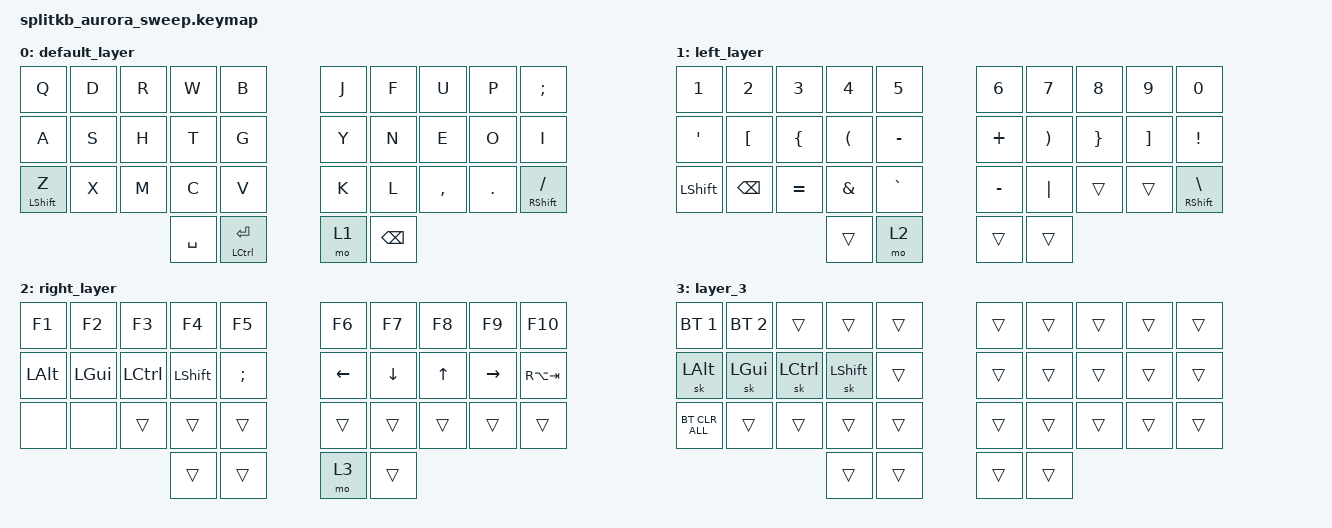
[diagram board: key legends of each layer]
/*
 * Copyright (c) 2022 The ZMK Contributors
 *
 * SPDX-License-Identifier: MIT
 */

#include <behaviors.dtsi>
#include <dt-bindings/zmk/bt.h>
#include <dt-bindings/zmk/keys.h>

&mt {
    //  flavor = "tap-preferred";
    // tapping-term-ms = <200>;
};

/ {
    combos {
        compatible = "zmk,combos";

        combo_esc {
            timeout-ms = <50>;
            key-positions = <11 12 13>;
            bindings = <&kp ESC>;
            layers = <0 1 2>;
        };

        combo_tab {
            timeout-ms = <50>;
            key-positions = <21 22>;
            bindings = <&kp TAB>;
        };

        layer3 {
            bindings = <&mo 3>;
            key-positions = <16 17 18>;
        };

        delete {
            bindings = <&kp DEL>;
            key-positions = <8 9>;
        };

        num_0 {
            bindings = <&kp N0>;
            key-positions = <7 8>;
            layers = <1>;
        };

        semicolon {
            bindings = <&kp SEMICOLON>;
            key-positions = <27 28>;
            layers = <0>;
        };
    };

    keymap {
        compatible = "zmk,keymap";

        default_layer {
            bindings = <
&kp Q        &kp D            &kp R  &kp W  &kp B    &kp J  &kp F  &kp U      &kp P       &kp SEMICOLON
&kp A        &kp S            &kp H  &kp T  &kp G    &kp Y  &kp N  &kp E      &kp O       &kp I
&mt LSHFT Z  &kp X            &kp M  &kp C  &kp V    &kp K  &kp L  &kp COMMA  &kp PERIOD  &mt RSHFT SLASH
&kp SPACE    &mt LCTRL ENTER                                                  &mo 1       &kp BACKSPACE
            >;
        };

        left_layer {
            bindings = <
&kp N1          &kp N2            &kp N3          &kp N4                &kp N5       &kp N6     &kp N7                 &kp N8           &kp N9             &kp N0
&kp SQT         &kp LEFT_BRACKET  &kp LEFT_BRACE  &kp LEFT_PARENTHESIS  &kp MINUS    &kp PLUS   &kp RIGHT_PARENTHESIS  &kp RIGHT_BRACE  &kp RIGHT_BRACKET  &kp EXCLAMATION
&kp LEFT_SHIFT  &kp BACKSPACE     &kp EQUAL       &kp AMPERSAND         &kp GRAVE    &kp MINUS  &kp PIPE               &trans           &trans             &mt RIGHT_SHIFT BACKSLASH
&trans          &mo 2                                                                                                                   &trans             &trans
            >;
        };

        right_layer {
            bindings = <
&kp F1    &kp F2    &kp F3     &kp F4     &kp F5      &kp F6    &kp F7    &kp F8        &kp F9     &kp F10
&kp LALT  &kp LGUI  &kp LCTRL  &kp LSHFT  &kp SEMI    &kp LEFT  &kp DOWN  &kp UP_ARROW  &kp RIGHT  &kp RA(TAB)
&none     &none     &trans     &trans     &trans      &trans    &trans    &trans        &trans     &trans
&trans    &trans                                                                        &mo 3      &trans
            >;
        };

        layer_3 {
            bindings = <
&bt BT_SEL 1    &bt BT_SEL 2  &trans     &trans     &trans    &trans  &trans  &trans  &trans  &trans
&sk LALT        &sk LGUI      &sk LCTRL  &sk LSHFT  &trans    &trans  &trans  &trans  &trans  &trans
&bt BT_CLR_ALL  &trans        &trans     &trans     &trans    &trans  &trans  &trans  &trans  &trans
&trans          &trans                                                                &trans  &trans
            >;
        };
    };
};
